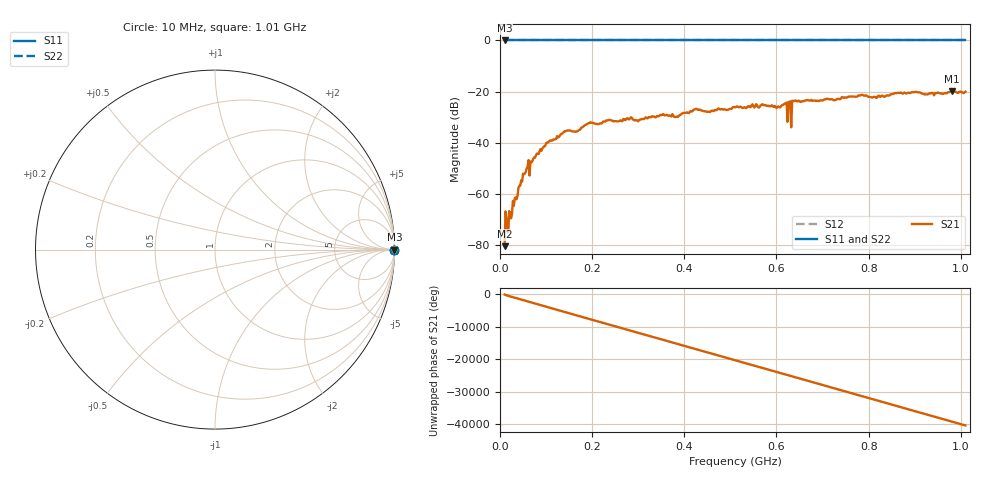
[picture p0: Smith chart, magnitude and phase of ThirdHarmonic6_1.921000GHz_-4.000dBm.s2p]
! 8/16/2025 11:09:38 PM
! C:\ANRITSUVNA\TEMP\TEMP.S2P
! CHANNEL.1
! TR.MEASUREMENT
! RAW.DATA
! RF.CORRECTION.OFF
! AVERAGING.OFF
! IF.BANDWIDTH: 5KHZ
! SWEEPTYPE:  FREQ.SWEEP(Linear)
! Reference Plane Port Info
! PORT:  PORT1  PORT2
! DISTANCE:  0  m  0  m
! TIME:  0  s  0  s
! PHASE.OFFSET:  0  deg.  0  deg.
! LOSS:  0  dB  0  dB
! REF.LOSS:  0  dB  0  dB
! REF.FREQ:  0  Hz  0  Hz
! Power Info
! POWER:  -20  dBm  -20  dBm
! EFF.POWER:  -20  dBm  -20  dBm
! SOURCE.ATTEN:  0  dB  0  dB
! TEST.ATTEN:  0  dB  0  dB
# GHZ S RI R 50.0
! FREQ.GHZ  S11RE  S11IM  S21RE  S21IM  S12RE  S12IM  S22RE  S22IM
!; PortSelection: Port_12
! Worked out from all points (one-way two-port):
!   501 points, 10 MHz to 1.01 GHz, reference 50 ohm
!   highest |S21| = -19.94 dB at 980 MHz (marker M1); lowest = -80.4 dB at 10 MHz (marker M2)
!   lowest |S11| = 0.0 dB at 10 MHz (marker M3)
!   |S11| at or under -10 dB: nowhere
!   |S22| runs from 0.0 to 0.0 dB; largest |S21 - S12| = 1.1
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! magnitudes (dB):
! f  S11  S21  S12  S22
! 10 MHz  0.0  -80.4  0.0  0.0
! 16 MHz  0.0  -74.4  0.0  0.0
! 20 MHz  0.0  -66.7  0.0  0.0
! 24 MHz  0.0  -69.5  0.0  0.0
! 46 MHz  0.0  -54.6  0.0  0.0
! 70 MHz  0.0  -47.3  0.0  0.0
! 104 MHz  0.0  -39.8  0.0  0.0
! 142 MHz  0.0  -35.5  0.0  0.0
! 178 MHz  0.0  -33.9  0.0  0.0
! 196 MHz  0.0  -32.0  0.0  0.0
! 344 MHz  0.0  -29.6  0.0  0.0
! 510 MHz  0.0  -26.1  0.0  0.0
! 604 MHz  0.0  -25.8  0.0  0.0
! 618 MHz  0.0  -24.7  0.0  0.0
! 626 MHz  0.0  -24.0  0.0  0.0
! 628 MHz  0.0  -24.0  0.0  0.0
! 636 MHz  0.0  -23.6  0.0  0.0
! 638 MHz  0.0  -23.7  0.0  0.0
! 678 MHz  0.0  -23.6  0.0  0.0
! 844 MHz  0.0  -21.5  0.0  0.0
! 980 MHz  0.0  -19.9  0.0  0.0
! 1.01 GHz  0.0  -20.0  0.0  0.0
